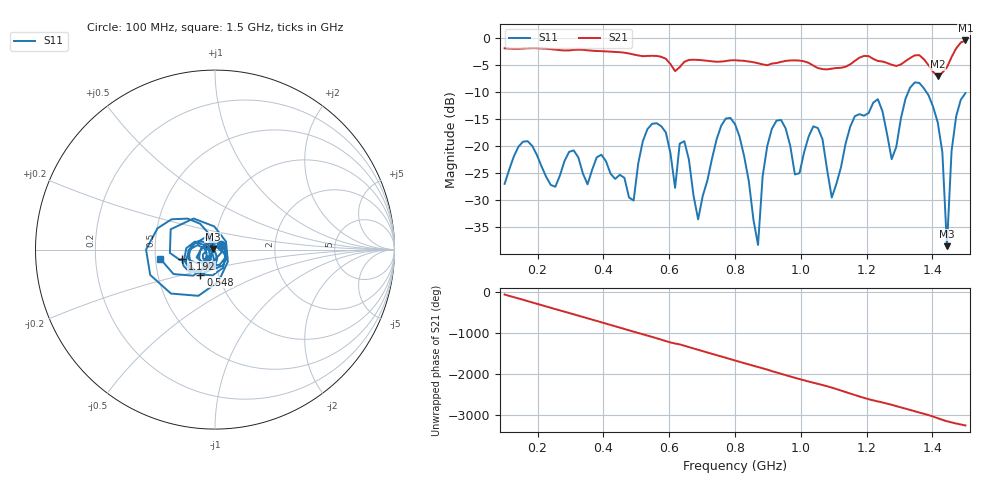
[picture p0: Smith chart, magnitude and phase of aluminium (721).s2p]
! NanoVNA-App
! Date: 2025-09-25 15:00:53
! Start: 100MHz Stop: 1,5GHz Points: 101
! S-Parameter data: F S11 S21 S12 S22
# Hz S RI R 50
!  Frequency  S11_Real  S11_Imag  S21_Real  S21_Imag  S12_Real  S12_Imag  S22_Real  S22_Imag
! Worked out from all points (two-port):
!   101 points, 100 MHz to 1.5 GHz, reference 50 ohm
!   highest |S21| = -0.48 dB at 1.5 GHz (marker M1); lowest = -7.1 dB at 1.416 GHz (marker M2)
!   |S21| within 3 dB of the highest: start of sweep to 574 MHz; 1.459 GHz to end of sweep (the widest 2 of 4)
!   lowest |S11| = -38.5 dB at 1.444 GHz (marker M3), VSWR 1.02, Z = 48.9 + j0.296 ohm
!   |S11| at or under -10 dB: start of sweep to 1.327 GHz; 1.381 GHz to end of sweep
!   S12 and S22 are empty: the file has one direction only
!   S11 on the Smith chart (normalised r, x): 100 MHz: 1.07, +0.06; 548 MHz: 0.82, -0.23; 1.192 GHz: 0.69, -0.07; 1.5 GHz: 0.53, -0.06
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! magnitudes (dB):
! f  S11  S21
! 100 MHz  -27.0  -1.9
! 156 MHz  -19.2  -2.0
! 338 MHz  -25.1  -2.2
! 492 MHz  -30.0  -3.1
! 548 MHz  -15.9  -3.3
! 576 MHz  -16.3  -3.5
! 618 MHz  -27.7  -6.1
! 646 MHz  -19.1  -4.4
! 688 MHz  -33.5  -4.1
! 800 MHz  -15.9  -4.1
! 870 MHz  -38.2  -4.7
! 912 MHz  -16.8  -4.7
! 982 MHz  -25.2  -4.2
! 1.038 GHz  -16.3  -5.1
! 1.094 GHz  -29.5  -5.7
! 1.192 GHz  -14.4  -3.3
! 1.276 GHz  -22.4  -5.0
! 1.346 GHz  -8.2  -3.2
! 1.416 GHz  -15.6  -7.1
! 1.444 GHz  -38.5  -5.4
! 1.458 GHz  -20.9  -3.5
! 1.5 GHz  -10.2  -0.5
